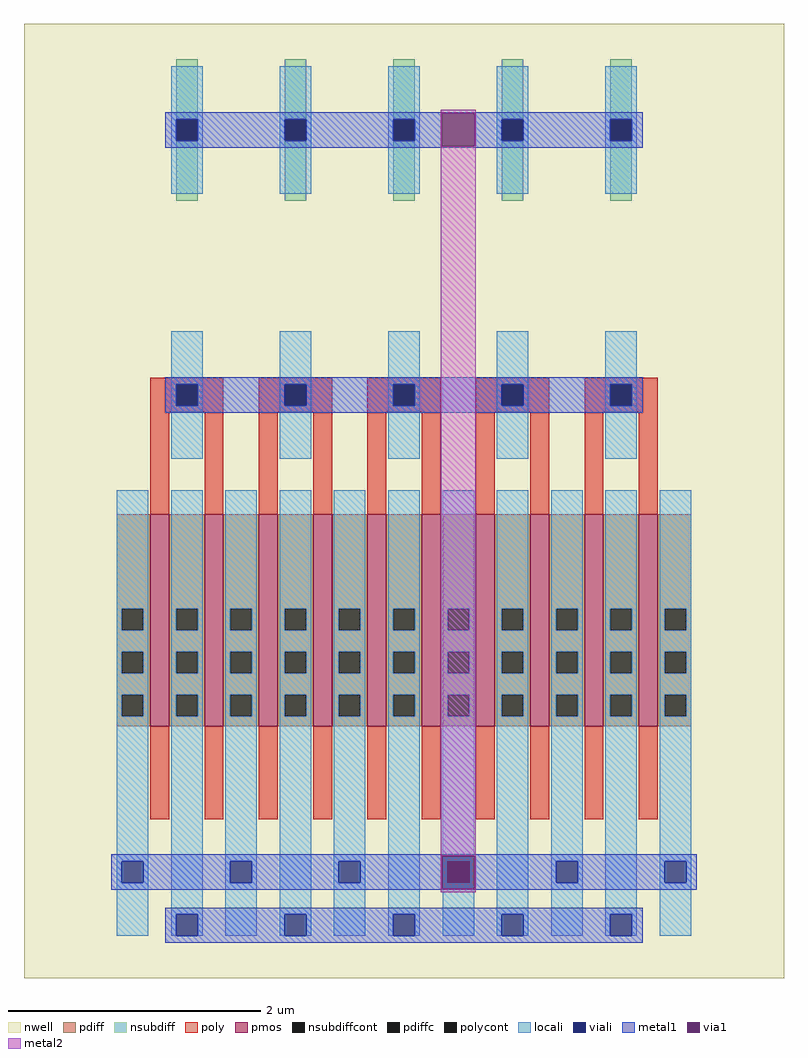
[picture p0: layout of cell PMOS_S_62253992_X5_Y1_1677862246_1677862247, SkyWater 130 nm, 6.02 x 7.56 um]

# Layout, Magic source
magic
tech sky130A
magscale 1 2
<< nwell >>
rect 0 0 1204 1512
<< pmos >>
rect 200 399 230 735
rect 286 399 316 735
rect 372 399 402 735
rect 458 399 488 735
rect 544 399 574 735
rect 630 399 660 735
rect 716 399 746 735
rect 802 399 832 735
rect 888 399 918 735
rect 974 399 1004 735
<< pdiff >>
rect 147 585 200 735
rect 147 551 155 585
rect 189 551 200 585
rect 147 517 200 551
rect 147 483 155 517
rect 189 483 200 517
rect 147 449 200 483
rect 147 415 155 449
rect 189 415 200 449
rect 147 399 200 415
rect 230 585 286 735
rect 230 551 241 585
rect 275 551 286 585
rect 230 517 286 551
rect 230 483 241 517
rect 275 483 286 517
rect 230 449 286 483
rect 230 415 241 449
rect 275 415 286 449
rect 230 399 286 415
rect 316 585 372 735
rect 316 551 327 585
rect 361 551 372 585
rect 316 517 372 551
rect 316 483 327 517
rect 361 483 372 517
rect 316 449 372 483
rect 316 415 327 449
rect 361 415 372 449
rect 316 399 372 415
rect 402 585 458 735
rect 402 551 413 585
rect 447 551 458 585
rect 402 517 458 551
rect 402 483 413 517
rect 447 483 458 517
rect 402 449 458 483
rect 402 415 413 449
rect 447 415 458 449
rect 402 399 458 415
rect 488 585 544 735
rect 488 551 499 585
rect 533 551 544 585
rect 488 517 544 551
rect 488 483 499 517
rect 533 483 544 517
rect 488 449 544 483
rect 488 415 499 449
rect 533 415 544 449
rect 488 399 544 415
rect 574 585 630 735
rect 574 551 585 585
rect 619 551 630 585
rect 574 517 630 551
rect 574 483 585 517
rect 619 483 630 517
rect 574 449 630 483
rect 574 415 585 449
rect 619 415 630 449
rect 574 399 630 415
rect 660 585 716 735
rect 660 551 671 585
rect 705 551 716 585
rect 660 517 716 551
rect 660 483 671 517
rect 705 483 716 517
rect 660 449 716 483
rect 660 415 671 449
rect 705 415 716 449
rect 660 399 716 415
rect 746 585 802 735
rect 746 551 757 585
rect 791 551 802 585
rect 746 517 802 551
rect 746 483 757 517
rect 791 483 802 517
rect 746 449 802 483
rect 746 415 757 449
rect 791 415 802 449
rect 746 399 802 415
rect 832 585 888 735
rect 832 551 843 585
rect 877 551 888 585
rect 832 517 888 551
rect 832 483 843 517
rect 877 483 888 517
rect 832 449 888 483
rect 832 415 843 449
rect 877 415 888 449
rect 832 399 888 415
rect 918 585 974 735
rect 918 551 929 585
rect 963 551 974 585
rect 918 517 974 551
rect 918 483 929 517
rect 963 483 974 517
rect 918 449 974 483
rect 918 415 929 449
rect 963 415 974 449
rect 918 399 974 415
rect 1004 585 1057 735
rect 1004 551 1015 585
rect 1049 551 1057 585
rect 1004 517 1057 551
rect 1004 483 1015 517
rect 1049 483 1057 517
rect 1004 449 1057 483
rect 1004 415 1015 449
rect 1049 415 1057 449
rect 1004 399 1057 415
<< pdiffc >>
rect 155 551 189 585
rect 155 483 189 517
rect 155 415 189 449
rect 241 551 275 585
rect 241 483 275 517
rect 241 415 275 449
rect 327 551 361 585
rect 327 483 361 517
rect 327 415 361 449
rect 413 551 447 585
rect 413 483 447 517
rect 413 415 447 449
rect 499 551 533 585
rect 499 483 533 517
rect 499 415 533 449
rect 585 551 619 585
rect 585 483 619 517
rect 585 415 619 449
rect 671 551 705 585
rect 671 483 705 517
rect 671 415 705 449
rect 757 551 791 585
rect 757 483 791 517
rect 757 415 791 449
rect 843 551 877 585
rect 843 483 877 517
rect 843 415 877 449
rect 929 551 963 585
rect 929 483 963 517
rect 929 415 963 449
rect 1015 551 1049 585
rect 1015 483 1049 517
rect 1015 415 1049 449
<< nsubdiff >>
rect 241 1361 275 1456
rect 241 1232 275 1327
rect 413 1361 447 1456
rect 413 1232 447 1327
rect 585 1361 619 1456
rect 585 1232 619 1327
rect 757 1361 791 1456
rect 757 1232 791 1327
rect 929 1361 963 1456
rect 929 1232 963 1327
<< nsubdiffcont >>
rect 241 1327 275 1361
rect 413 1327 447 1361
rect 585 1327 619 1361
rect 757 1327 791 1361
rect 929 1327 963 1361
<< poly >>
rect 200 941 316 951
rect 200 907 241 941
rect 275 907 316 941
rect 200 897 316 907
rect 200 735 230 897
rect 286 735 316 897
rect 372 941 488 951
rect 372 907 413 941
rect 447 907 488 941
rect 372 897 488 907
rect 372 735 402 897
rect 458 735 488 897
rect 544 941 660 951
rect 544 907 585 941
rect 619 907 660 941
rect 544 897 660 907
rect 544 735 574 897
rect 630 735 660 897
rect 716 941 832 951
rect 716 907 757 941
rect 791 907 832 941
rect 716 897 832 907
rect 716 735 746 897
rect 802 735 832 897
rect 888 941 1004 951
rect 888 907 929 941
rect 963 907 1004 941
rect 888 897 1004 907
rect 888 735 918 897
rect 974 735 1004 897
rect 200 252 230 399
rect 286 252 316 399
rect 372 252 402 399
rect 458 252 488 399
rect 544 252 574 399
rect 630 252 660 399
rect 716 252 746 399
rect 802 252 832 399
rect 888 252 918 399
rect 974 252 1004 399
<< polycont >>
rect 241 907 275 941
rect 413 907 447 941
rect 585 907 619 941
rect 757 907 791 941
rect 929 907 963 941
<< locali >>
rect 233 1361 283 1445
rect 233 1327 241 1361
rect 275 1327 283 1361
rect 233 1243 283 1327
rect 405 1361 455 1445
rect 405 1327 413 1361
rect 447 1327 455 1361
rect 405 1243 455 1327
rect 577 1361 627 1445
rect 577 1327 585 1361
rect 619 1327 627 1361
rect 577 1243 627 1327
rect 749 1361 799 1445
rect 749 1327 757 1361
rect 791 1327 799 1361
rect 749 1243 799 1327
rect 921 1361 971 1445
rect 921 1327 929 1361
rect 963 1327 971 1361
rect 921 1243 971 1327
rect 233 941 283 1025
rect 233 907 241 941
rect 275 907 283 941
rect 233 823 283 907
rect 405 941 455 1025
rect 405 907 413 941
rect 447 907 455 941
rect 405 823 455 907
rect 577 941 627 1025
rect 577 907 585 941
rect 619 907 627 941
rect 577 823 627 907
rect 749 941 799 1025
rect 749 907 757 941
rect 791 907 799 941
rect 749 823 799 907
rect 921 941 971 1025
rect 921 907 929 941
rect 963 907 971 941
rect 921 823 971 907
rect 147 585 197 773
rect 147 551 155 585
rect 189 551 197 585
rect 147 517 197 551
rect 147 483 155 517
rect 189 483 197 517
rect 147 449 197 483
rect 147 415 155 449
rect 189 415 197 449
rect 147 185 197 415
rect 147 151 155 185
rect 189 151 197 185
rect 147 67 197 151
rect 233 585 283 773
rect 233 551 241 585
rect 275 551 283 585
rect 233 517 283 551
rect 233 483 241 517
rect 275 483 283 517
rect 233 449 283 483
rect 233 415 241 449
rect 275 415 283 449
rect 233 101 283 415
rect 233 67 241 101
rect 275 67 283 101
rect 319 585 369 773
rect 319 551 327 585
rect 361 551 369 585
rect 319 517 369 551
rect 319 483 327 517
rect 361 483 369 517
rect 319 449 369 483
rect 319 415 327 449
rect 361 415 369 449
rect 319 185 369 415
rect 319 151 327 185
rect 361 151 369 185
rect 319 67 369 151
rect 405 585 455 773
rect 405 551 413 585
rect 447 551 455 585
rect 405 517 455 551
rect 405 483 413 517
rect 447 483 455 517
rect 405 449 455 483
rect 405 415 413 449
rect 447 415 455 449
rect 405 101 455 415
rect 405 67 413 101
rect 447 67 455 101
rect 491 585 541 773
rect 491 551 499 585
rect 533 551 541 585
rect 491 517 541 551
rect 491 483 499 517
rect 533 483 541 517
rect 491 449 541 483
rect 491 415 499 449
rect 533 415 541 449
rect 491 185 541 415
rect 491 151 499 185
rect 533 151 541 185
rect 491 67 541 151
rect 577 585 627 773
rect 577 551 585 585
rect 619 551 627 585
rect 577 517 627 551
rect 577 483 585 517
rect 619 483 627 517
rect 577 449 627 483
rect 577 415 585 449
rect 619 415 627 449
rect 577 101 627 415
rect 577 67 585 101
rect 619 67 627 101
rect 663 585 713 773
rect 663 551 671 585
rect 705 551 713 585
rect 663 517 713 551
rect 663 483 671 517
rect 705 483 713 517
rect 663 449 713 483
rect 663 415 671 449
rect 705 415 713 449
rect 663 185 713 415
rect 663 151 671 185
rect 705 151 713 185
rect 663 67 713 151
rect 749 585 799 773
rect 749 551 757 585
rect 791 551 799 585
rect 749 517 799 551
rect 749 483 757 517
rect 791 483 799 517
rect 749 449 799 483
rect 749 415 757 449
rect 791 415 799 449
rect 749 101 799 415
rect 749 67 757 101
rect 791 67 799 101
rect 835 585 885 773
rect 835 551 843 585
rect 877 551 885 585
rect 835 517 885 551
rect 835 483 843 517
rect 877 483 885 517
rect 835 449 885 483
rect 835 415 843 449
rect 877 415 885 449
rect 835 185 885 415
rect 835 151 843 185
rect 877 151 885 185
rect 835 67 885 151
rect 921 585 971 773
rect 921 551 929 585
rect 963 551 971 585
rect 921 517 971 551
rect 921 483 929 517
rect 963 483 971 517
rect 921 449 971 483
rect 921 415 929 449
rect 963 415 971 449
rect 921 101 971 415
rect 921 67 929 101
rect 963 67 971 101
rect 1007 585 1057 773
rect 1007 551 1015 585
rect 1049 551 1057 585
rect 1007 517 1057 551
rect 1007 483 1015 517
rect 1049 483 1057 517
rect 1007 449 1057 483
rect 1007 415 1015 449
rect 1049 415 1057 449
rect 1007 185 1057 415
rect 1007 151 1015 185
rect 1049 151 1057 185
rect 1007 67 1057 151
<< viali >>
rect 241 1327 275 1361
rect 413 1327 447 1361
rect 585 1327 619 1361
rect 757 1327 791 1361
rect 929 1327 963 1361
rect 241 907 275 941
rect 413 907 447 941
rect 585 907 619 941
rect 757 907 791 941
rect 929 907 963 941
rect 155 151 189 185
rect 241 67 275 101
rect 327 151 361 185
rect 413 67 447 101
rect 499 151 533 185
rect 585 67 619 101
rect 671 151 705 185
rect 757 67 791 101
rect 843 151 877 185
rect 929 67 963 101
rect 1015 151 1049 185
<< metal1 >>
rect 224 1370 980 1372
rect 224 1361 662 1370
rect 224 1327 241 1361
rect 275 1327 413 1361
rect 447 1327 585 1361
rect 619 1327 662 1361
rect 224 1318 662 1327
rect 714 1361 980 1370
rect 714 1327 757 1361
rect 791 1327 929 1361
rect 963 1327 980 1361
rect 714 1318 980 1327
rect 224 1316 980 1318
rect 224 941 980 952
rect 224 907 241 941
rect 275 907 413 941
rect 447 907 585 941
rect 619 907 757 941
rect 791 907 929 941
rect 963 907 980 941
rect 224 896 980 907
rect 138 194 1066 196
rect 138 185 662 194
rect 714 185 1066 194
rect 138 151 155 185
rect 189 151 327 185
rect 361 151 499 185
rect 533 151 662 185
rect 714 151 843 185
rect 877 151 1015 185
rect 1049 151 1066 185
rect 138 142 662 151
rect 714 142 1066 151
rect 138 140 1066 142
rect 224 101 980 112
rect 224 67 241 101
rect 275 67 413 101
rect 447 67 585 101
rect 619 67 757 101
rect 791 67 929 101
rect 963 67 980 101
rect 224 56 980 67
<< via1 >>
rect 662 1318 714 1370
rect 662 185 714 194
rect 662 151 671 185
rect 671 151 705 185
rect 705 151 714 185
rect 662 142 714 151
<< metal2 >>
rect 660 1370 716 1376
rect 660 1318 662 1370
rect 714 1318 716 1370
rect 660 194 716 1318
rect 660 142 662 194
rect 714 142 716 194
rect 660 136 716 142
<< end >>
